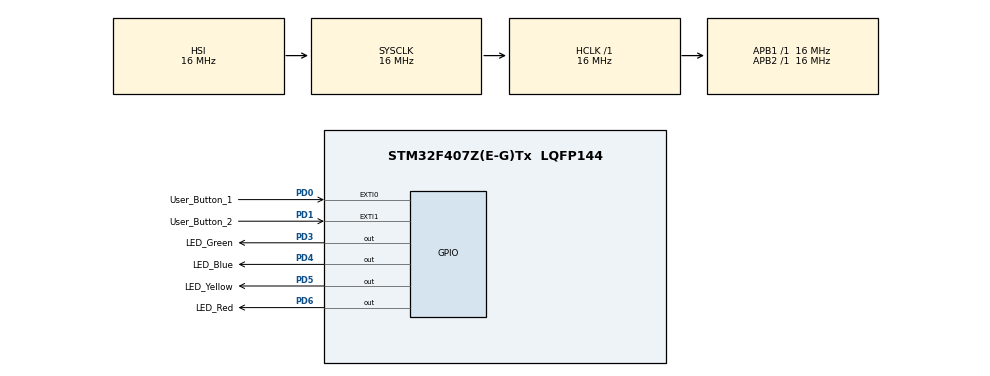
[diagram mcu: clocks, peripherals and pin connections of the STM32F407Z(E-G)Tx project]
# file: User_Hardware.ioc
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IWDG.Prescaler=IWDG_PRESCALER_32
Mcu.Family=STM32F4
Mcu.Name=STM32F407Z(E-G)Tx
Mcu.Package=LQFP144
NVIC.EXTI0_IRQn=true\:0\:0\:false\:false\:true\:true
NVIC.EXTI1_IRQn=true\:0\:0\:false\:false\:true\:true
NVIC.PriorityGroup=NVIC_PRIORITYGROUP_4
NVIC.RCC_IRQn=true\:0\:0\:false\:false\:true\:true
NVIC.TIM5_IRQn=true\:0\:0\:false\:false\:true\:true
PD0.GPIO_Label=User_Button_1
PD0.Signal=GPXTI0
PD1.GPIO_Label=User_Button_2
PD1.Signal=GPXTI1
PD3.GPIO_Label=LED_Green
PD3.Signal=GPIO_Output
PD4.GPIO_Label=LED_Blue
PD4.Signal=GPIO_Output
PD5.GPIO_Label=LED_Yellow
PD5.Signal=GPIO_Output
PD6.GPIO_Label=LED_Red
PD6.Signal=GPIO_Output
ProjectManager.HeapSize=0x200
ProjectManager.StackSize=0x400
ProjectManager.TargetToolchain=Makefile
RCC.48MHZClocksFreq_Value=48000000
RCC.AHBFreq_Value=16000000
RCC.APB1Freq_Value=16000000
RCC.APB1TimFreq_Value=16000000
RCC.APB2Freq_Value=16000000
RCC.APB2TimFreq_Value=16000000
RCC.CortexFreq_Value=16000000
RCC.HCLKFreq_Value=16000000
RCC.HSE_VALUE=25000000
RCC.HSI_VALUE=16000000
RCC.LSE_VALUE=32768
RCC.SYSCLKFreq_VALUE=16000000
RCC.VCOOutputFreq_Value=192000000
TIM5.Channel-Input_Capture4_from_TI4_Remap=TIM_CHANNEL_4
TIM5.Period=0xFFFF
VP_IWDG_VS_IWDG.Mode=IWDG_Activate
VP_TIM5_VS_ClockSourceINT.Mode=Internal
VP_TIM5_VS_NoInput4.Mode=Input_Capture4_from_TI4_Remap
board=User_Hardware

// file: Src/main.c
/**
  ******************************************************************************
  * File Name          : main.c
  * Description        : Main program body
  ******************************************************************************
  ** This notice applies to any and all portions of this file
  * that are not between comment pairs USER CODE BEGIN and
  * USER CODE END. Other portions of this file, whether
  * inserted by the user or by software development tools
  * are owned by their respective copyright owners.
  *
  * COPYRIGHT(c) 2017 STMicroelectronics
  *
  * Redistribution and use in source and binary forms, with or without modification,
  * are permitted provided that the following conditions are met:
  *   1. Redistributions of source code must retain the above copyright notice,
  *      this list of conditions and the following disclaimer.
  *   2. Redistributions in binary form must reproduce the above copyright notice,
  *      this list of conditions and the following disclaimer in the documentation
  *      and/or other materials provided with the distribution.
  *   3. Neither the name of STMicroelectronics nor the names of its contributors
  *      may be used to endorse or promote products derived from this software
  *      without specific prior written permission.
  *
  * THIS SOFTWARE IS PROVIDED BY THE COPYRIGHT HOLDERS AND CONTRIBUTORS "AS IS"
  * AND ANY EXPRESS OR IMPLIED WARRANTIES, INCLUDING, BUT NOT LIMITED TO, THE
  * IMPLIED WARRANTIES OF MERCHANTABILITY AND FITNESS FOR A PARTICULAR PURPOSE ARE
  * DISCLAIMED. IN NO EVENT SHALL THE COPYRIGHT HOLDER OR CONTRIBUTORS BE LIABLE
  * FOR ANY DIRECT, INDIRECT, INCIDENTAL, SPECIAL, EXEMPLARY, OR CONSEQUENTIAL
  * DAMAGES (INCLUDING, BUT NOT LIMITED TO, PROCUREMENT OF SUBSTITUTE GOODS OR
  * SERVICES; LOSS OF USE, DATA, OR PROFITS; OR BUSINESS INTERRUPTION) HOWEVER
  * CAUSED AND ON ANY THEORY OF LIABILITY, WHETHER IN CONTRACT, STRICT LIABILITY,
  * OR TORT (INCLUDING NEGLIGENCE OR OTHERWISE) ARISING IN ANY WAY OUT OF THE USE
  * OF THIS SOFTWARE, EVEN IF ADVISED OF THE POSSIBILITY OF SUCH DAMAGE.
  *
  ******************************************************************************
  */
#include "main.h"
#include "stm32f4xx_hal.h"

IWDG_HandleTypeDef hiwdg;

TIM_HandleTypeDef htim5;

static __IO uint32_t uwLsiFreq = 0;
__IO uint32_t uwCaptureNumber = 0;
__IO uint32_t uwPeriodValue = 0;
__IO uint32_t uwMeasurementDone = 0;
/* USER CODE BEGIN PV */
/* Private variables ---------------------------------------------------------*/

/* USER CODE END PV */

void SystemClock_Config(void);
static void MX_GPIO_Init(void);
/*static void MX_IWDG_Init(void);*/
static void MX_TIM5_Init(void);
static uint32_t GetLSIFrequency(void);

/* USER CODE BEGIN PFP */
/* Private function prototypes -----------------------------------------------*/

/* USER CODE END PFP */

int main(void)
{

  /* MCU Configuration----------------------------------------------------------*/

  /* Reset of all peripherals, Initializes the Flash interface and the Systick. */
  HAL_Init();

  /* Configure the system clock */
  SystemClock_Config();

  /* Initialize all configured peripherals */
  MX_GPIO_Init();
  /*MX_IWDG_Init();*/
  /* MX_TIM5_Init();*/

  /* USER CODE BEGIN 2 */
  /*##-1- Check if the system has resumed from IWDG reset ######################*/
  if (__HAL_RCC_GET_FLAG(RCC_FLAG_IWDGRST) != RESET)
  {
    HAL_GPIO_WritePin(LED_Blue_GPIO_Port, LED_Blue_Pin, GPIO_PIN_SET);

    /* clear reset flags */
    __HAL_RCC_CLEAR_RESET_FLAGS();
  }
  else
  {
    HAL_GPIO_WritePin(LED_Blue_GPIO_Port, LED_Blue_Pin, GPIO_PIN_RESET);
  }

  /* Get the LSI frequency; TIM5 is used to measure the LSI frequency */
  uwLsiFreq = GetLSIFrequency();

  /* Configure the IWDG Peripheral */

  /* Set counter reload value to obtain 250ms IWDG Timeout. */
  /* IWDG counter clock frequency = LsiFreq/32 */
  /* Counter Reload Value = 250ms / IWDG counter clock Period */
  /*                      = 0.25s / (32/LsiFreq) */
  /*                      = LsiFreq / 128 */
  hiwdg.Instance = IWDG;
  hiwdg.Init.Prescaler = IWDG_PRESCALER_32;
  hiwdg.Init.Reload = uwLsiFreq / 128;

  if(HAL_IWDG_Init(&hiwdg) != HAL_OK)
  {
     _Error_Handler(__FILE__, __LINE__);
  }

  /*##-4- Start the IWDG ###################################################*/
  /* if(HAL_IWDG_Start(&hiwdg) != HAL_OK) */
  /* { */
  /*    _Error_Handler(__FILE__, __LINE__); */
  /* } */
  /* USER CODE END 2 */

  /* USER CODE BEGIN 3 */
  /* Infinite loop */
  /* USER CODE BEGIN WHILE */
  while (1)
  {
  /* USER CODE END WHILE */

    /* Toggle LED GREEN */
    HAL_GPIO_TogglePin(LED_Green_GPIO_Port, LED_Green_Pin);

    /* Insert 240ms delay */
    HAL_Delay(240);

    /* Refresh IWDG: reload counter */
    if(HAL_IWDG_Refresh(&hiwdg))
    {
       _Error_Handler(__FILE__, __LINE__);
    }
  }
  /* USER CODE END 3 */

}

/**
  * @brief  Configures TIM5 to measure the LSI oscillator frequency.
  * @parm   None
  * @retval LSI Frequency
  */
static uint32_t GetLSIFrequency(void)
{
  uint32_t pclk1 = 0;

  /* Wait till LSI is ready */
  while (__HAL_RCC_GET_FLAG(RCC_FLAG_LSIRDY) == RESET)
  {
  }

  /* Initialization of TIM peripheral */
  MX_TIM5_Init();

  /* Wait until the TIM5 get 2 LSI edges (refer to TIM5_IRQHandler()
     in stm32f4xx_it.c file */
  while(uwMeasurementDone == 0)
  {
  }
  uwCaptureNumber = 0;

  /* Deinitialize the TIM5 peripheral registers to their default reset
     values */
  HAL_TIM_IC_DeInit(&htim5);

  /* Compute the LSI frequency, depending on TIM5 input clock
     frequency(PCLK1) */

  /* Get PCLK1 frequency */
  pclk1 = HAL_RCC_GetPCLK1Freq();

  /* PCLK1 prescaler equal to 1 => TIMCLK = PCLK1 */
  return (pclk1/uwPeriodValue);
}
/** System Clock Configuration
*/
void SystemClock_Config(void)
{

  RCC_OscInitTypeDef RCC_OscInitStruct;
  RCC_ClkInitTypeDef RCC_ClkInitStruct;

    /**Configure the main internal regulator output voltage
    */
  __HAL_RCC_PWR_CLK_ENABLE();

  __HAL_PWR_VOLTAGESCALING_CONFIG(PWR_REGULATOR_VOLTAGE_SCALE1);

    /**Initializes the CPU, AHB and APB busses clocks
    */
  RCC_OscInitStruct.OscillatorType = RCC_OSCILLATORTYPE_HSI|RCC_OSCILLATORTYPE_LSI;
  RCC_OscInitStruct.HSIState = RCC_HSI_ON;
  RCC_OscInitStruct.HSICalibrationValue = 16;
  RCC_OscInitStruct.LSIState = RCC_LSI_ON;
  RCC_OscInitStruct.PLL.PLLState = RCC_PLL_NONE;
  if (HAL_RCC_OscConfig(&RCC_OscInitStruct) != HAL_OK)
  {
    _Error_Handler(__FILE__, __LINE__);
  }

    /**Initializes the CPU, AHB and APB busses clocks
    */
  RCC_ClkInitStruct.ClockType = RCC_CLOCKTYPE_HCLK|RCC_CLOCKTYPE_SYSCLK
                              |RCC_CLOCKTYPE_PCLK1|RCC_CLOCKTYPE_PCLK2;
  RCC_ClkInitStruct.SYSCLKSource = RCC_SYSCLKSOURCE_HSI;
  RCC_ClkInitStruct.AHBCLKDivider = RCC_SYSCLK_DIV1;
  RCC_ClkInitStruct.APB1CLKDivider = RCC_HCLK_DIV1;
  RCC_ClkInitStruct.APB2CLKDivider = RCC_HCLK_DIV1;

  if (HAL_RCC_ClockConfig(&RCC_ClkInitStruct, FLASH_LATENCY_0) != HAL_OK)
  {
    _Error_Handler(__FILE__, __LINE__);
  }

    /**Configure the Systick interrupt time
    */
  HAL_SYSTICK_Config(HAL_RCC_GetHCLKFreq()/1000);

    /**Configure the Systick
    */
  HAL_SYSTICK_CLKSourceConfig(SYSTICK_CLKSOURCE_HCLK);

  /* SysTick_IRQn interrupt configuration */
  HAL_NVIC_SetPriority(SysTick_IRQn, 0, 0);
}

/* IWDG init function */
/* static void MX_IWDG_Init(void)
{

  hiwdg.Instance = IWDG;
  hiwdg.Init.Prescaler = IWDG_PRESCALER_32;
  hiwdg.Init.Reload = 4095;
  if (HAL_IWDG_Init(&hiwdg) != HAL_OK)
  {
    _Error_Handler(__FILE__, __LINE__);
  }

} */
/* TIM5 init function */
static void MX_TIM5_Init(void)
{

  TIM_ClockConfigTypeDef sClockSourceConfig;
  TIM_MasterConfigTypeDef sMasterConfig;
  TIM_IC_InitTypeDef sConfigIC;

  htim5.Instance = TIM5;
  htim5.Init.Prescaler = 0;
  htim5.Init.CounterMode = TIM_COUNTERMODE_UP;
  htim5.Init.Period = 0xFFFF;
  htim5.Init.ClockDivision = TIM_CLOCKDIVISION_DIV1;
  if (HAL_TIM_Base_Init(&htim5) != HAL_OK)
  {
    _Error_Handler(__FILE__, __LINE__);
  }

   sClockSourceConfig.ClockSource = TIM_CLOCKSOURCE_INTERNAL;
  if (HAL_TIM_ConfigClockSource(&htim5, &sClockSourceConfig) != HAL_OK)
  {
    _Error_Handler(__FILE__, __LINE__);
  }

  if (HAL_TIM_IC_Init(&htim5) != HAL_OK)
  {
    _Error_Handler(__FILE__, __LINE__);
  }

  sMasterConfig.MasterOutputTrigger = TIM_TRGO_RESET;
  sMasterConfig.MasterSlaveMode = TIM_MASTERSLAVEMODE_DISABLE;
  if (HAL_TIMEx_MasterConfigSynchronization(&htim5, &sMasterConfig) != HAL_OK)
  {
    _Error_Handler(__FILE__, __LINE__);
  }

  sConfigIC.ICPolarity = TIM_INPUTCHANNELPOLARITY_RISING;
  sConfigIC.ICSelection = TIM_ICSELECTION_DIRECTTI;
  sConfigIC.ICPrescaler = TIM_ICPSC_DIV1;
  sConfigIC.ICFilter = 0;
  if (HAL_TIM_IC_ConfigChannel(&htim5, &sConfigIC, TIM_CHANNEL_4) != HAL_OK)
  {
    _Error_Handler(__FILE__, __LINE__);
  }

  if (HAL_TIMEx_RemapConfig(&htim5, TIM_TIM5_LSI) != HAL_OK)
  {
    _Error_Handler(__FILE__, __LINE__);
  }

}

/** Configure pins as
        * Analog
        * Input
        * Output
        * EVENT_OUT
        * EXTI
*/
static void MX_GPIO_Init(void)
{

  GPIO_InitTypeDef GPIO_InitStruct;

  /* GPIO Ports Clock Enable */
  __HAL_RCC_GPIOF_CLK_ENABLE();

  /*Configure GPIO pin Output Level */
  HAL_GPIO_WritePin(GPIOF, LED_Green_Pin|LED_Blue_Pin|LED_Yellow_Pin|LED_Red_Pin, GPIO_PIN_RESET);

  /*Configure GPIO pins : User_Button_1_Pin User_Button_2_Pin */
  GPIO_InitStruct.Pin = User_Button_1_Pin|User_Button_2_Pin;
  GPIO_InitStruct.Mode = GPIO_MODE_IT_RISING;
  GPIO_InitStruct.Pull = GPIO_NOPULL;
  HAL_GPIO_Init(GPIOF, &GPIO_InitStruct);

  /*Configure GPIO pins : LED_Green_Pin LED_Blue_Pin LED_Yellow_Pin LED_Red_Pin */
  GPIO_InitStruct.Pin = LED_Green_Pin|LED_Blue_Pin|LED_Yellow_Pin|LED_Red_Pin;
  GPIO_InitStruct.Mode = GPIO_MODE_OUTPUT_PP;
  GPIO_InitStruct.Pull = GPIO_NOPULL;
  GPIO_InitStruct.Speed = GPIO_SPEED_FREQ_LOW;
  HAL_GPIO_Init(GPIOF, &GPIO_InitStruct);

  /* EXTI interrupt init*/
  HAL_NVIC_SetPriority(EXTI0_IRQn, 0, 0);
  HAL_NVIC_EnableIRQ(EXTI0_IRQn);

  HAL_NVIC_SetPriority(EXTI1_IRQn, 0, 0);
  HAL_NVIC_EnableIRQ(EXTI1_IRQn);

}

void _Error_Handler(char * file, int line)
{
  /* USER CODE BEGIN Error_Handler_Debug */

  /* Turn LED_Red_Pin on */
  HAL_GPIO_WritePin(LED_Red_GPIO_Port, LED_Red_Pin, GPIO_PIN_SET);

  /* User can add his own implementation to report the HAL error return state */
  while(1)
  {
  }
  /* USER CODE END Error_Handler_Debug */
}

/************************ (C) COPYRIGHT STMicroelectronics *****END OF FILE****/
